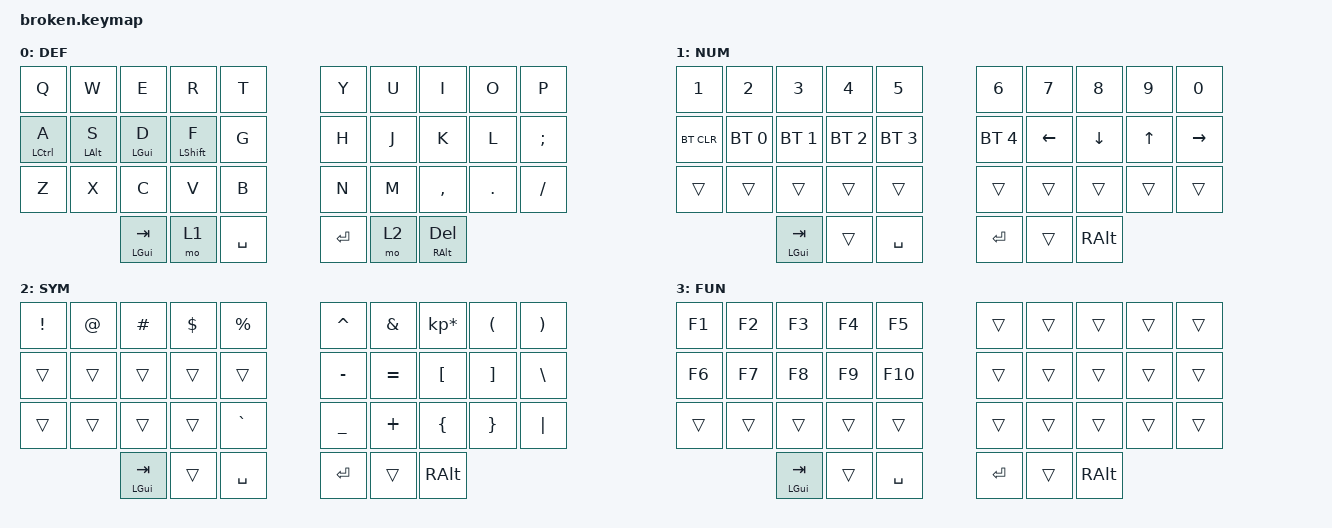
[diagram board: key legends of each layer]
/*
 * Copyright (c) 2020 The ZMK Contributors
 *
 * SPDX-License-Identifier: MIT
 */

#include <behaviors.dtsi>// Layer aliases
#define DEF 0
#define NUM 1
#define SYM 2
#define FUN 3

#include "combos.dtsi"
#include <dt-bindings/zmk/keys.h>
#include <dt-bindings/zmk/bt.h>// Behavior configuration
&mt {
    flavor = "hold-preferred";
    tapping-term-ms = <150>;
};

&lt {
    flavor = "balanced";
    tapping-term-ms = <150>;
};

&caps_word {
    continue-list = <UNDERSCORE MINUS BSPC DEL N1 N2 N3 N4 N5 N6 N7 N8 N9 N0>;
};

/ {
    behaviors {
        am: alpha_mods {
            compatible = "zmk,behavior-hold-tap";
            label = "ALPHA_MT";
            #binding-cells = <2>;
            tapping-term-ms = <250>;
            quick-tap-ms = <150>;
            flavor = "tap-preferred";
            bindings =
                <&kp>,
                <&kp>;
        };
        as: alpha_shift {
            compatible = "zmk,behavior-hold-tap";
            label = "ALPHA_SFT";
            #binding-cells = <2>;
            tapping-term-ms = <200>;
            quick-tap-ms = <150>;
            flavor = "tap-preferred";
            bindings =
                <&kp>,
                <&kp>;
        };

        // Easy alt-tab with alt+backspace thumb using mod-morphs
        // bstab: backspace_tab {
        //     compatible = "zmk,behavior-mod-morph";
        //     label = "BSPC_TAB";
        //     #binding-cells = <0>;
        //     bindings = <&kp BSPC>, <&kp TAB>;
        //     mods = <MOD_LALT>;
        // };
        // lt_bspc: layer_tap_backspace_tab {
        //     compatible = "zmk,behavior-hold-tap";
        //     label = "LT_BT";
        //     #binding-cells = <2>;
        //     tapping-term-ms = <150>;
        //     flavor = "balanced";
        //     bindings = <&mo>, <&bstab>;
        // };
    };

    // cond_layers {
    //     compatible = "zmk,conditional-layers";
    //     // Define FUN layer as tri-state
    //     func_tristate {
    //         if-layers = <NUM SYM>;
    //         then-layer = <FUN>;
    //     };
    // };

    combos {
        compatible = "zmk,combos";

        semi {
            bindings = <&kp SEMI>;
            key-positions = <18 19>;
        };
    };

    keymap {
        compatible = "zmk,keymap";

        DEF {
            label = "DEF";
            bindings = <
               &kp Q       &kp W         &kp E        &kp R      &kp T            &kp Y   &kp U         &kp I    &kp O     &kp P
         &am LCTRL A  &am LALT S    &am LGUI D  &as LSHFT F      &kp G            &kp H   &kp J         &kp K    &kp L  &kp SEMI
               &kp Z       &kp X         &kp C        &kp V      &kp B            &kp N   &kp M     &kp COMMA  &kp DOT  &kp FSLH
                                  &mt LGUI TAB        &mo 1  &kp SPACE          &kp RET   &mo 2  &mt RALT DEL
            >;
        };

        NUM {
            label = "NUM";
            bindings = <
             &kp N1        &kp N2        &kp N3        &kp N4        &kp N5                &kp N6    &kp N7    &kp N8  &kp N9     &kp N0
         &bt BT_CLR  &bt BT_SEL 0  &bt BT_SEL 1  &bt BT_SEL 2  &bt BT_SEL 3          &bt BT_SEL 4  &kp LEFT  &kp DOWN  &kp UP  &kp RIGHT
             &trans        &trans        &trans        &trans        &trans                &trans    &trans    &trans  &trans     &trans
                                   &mt LGUI TAB        &trans     &kp SPACE               &kp RET    &trans  &kp RALT
            >;
        };

        SYM {
            label = "SYM";
            bindings = <
         &kp EXCL  &kp AT      &kp HASH  &kp DLLR  &kp PRCNT          &kp CARET   &kp AMPS  &kp KP_MULTIPLY  &kp LPAR  &kp RPAR
           &trans  &trans        &trans    &trans     &trans          &kp MINUS  &kp EQUAL         &kp LBKT  &kp RBKT  &kp BSLH
           &trans  &trans        &trans    &trans  &kp GRAVE          &kp UNDER   &kp PLUS         &kp LBRC  &kp RBRC  &kp PIPE
                           &mt LGUI TAB    &trans  &kp SPACE            &kp RET     &trans         &kp RALT
            >;
        };

        FUN {
            label = "FUN";
            bindings = <
         &kp F1  &kp F2        &kp F3  &kp F4     &kp F5           &trans  &trans    &trans  &trans  &trans
         &kp F6  &kp F7        &kp F8  &kp F9    &kp F10           &trans  &trans    &trans  &trans  &trans
         &trans  &trans        &trans  &trans     &trans           &trans  &trans    &trans  &trans  &trans
                         &mt LGUI TAB  &trans  &kp SPACE          &kp RET  &trans  &kp RALT
            >;
        };
    };
};
